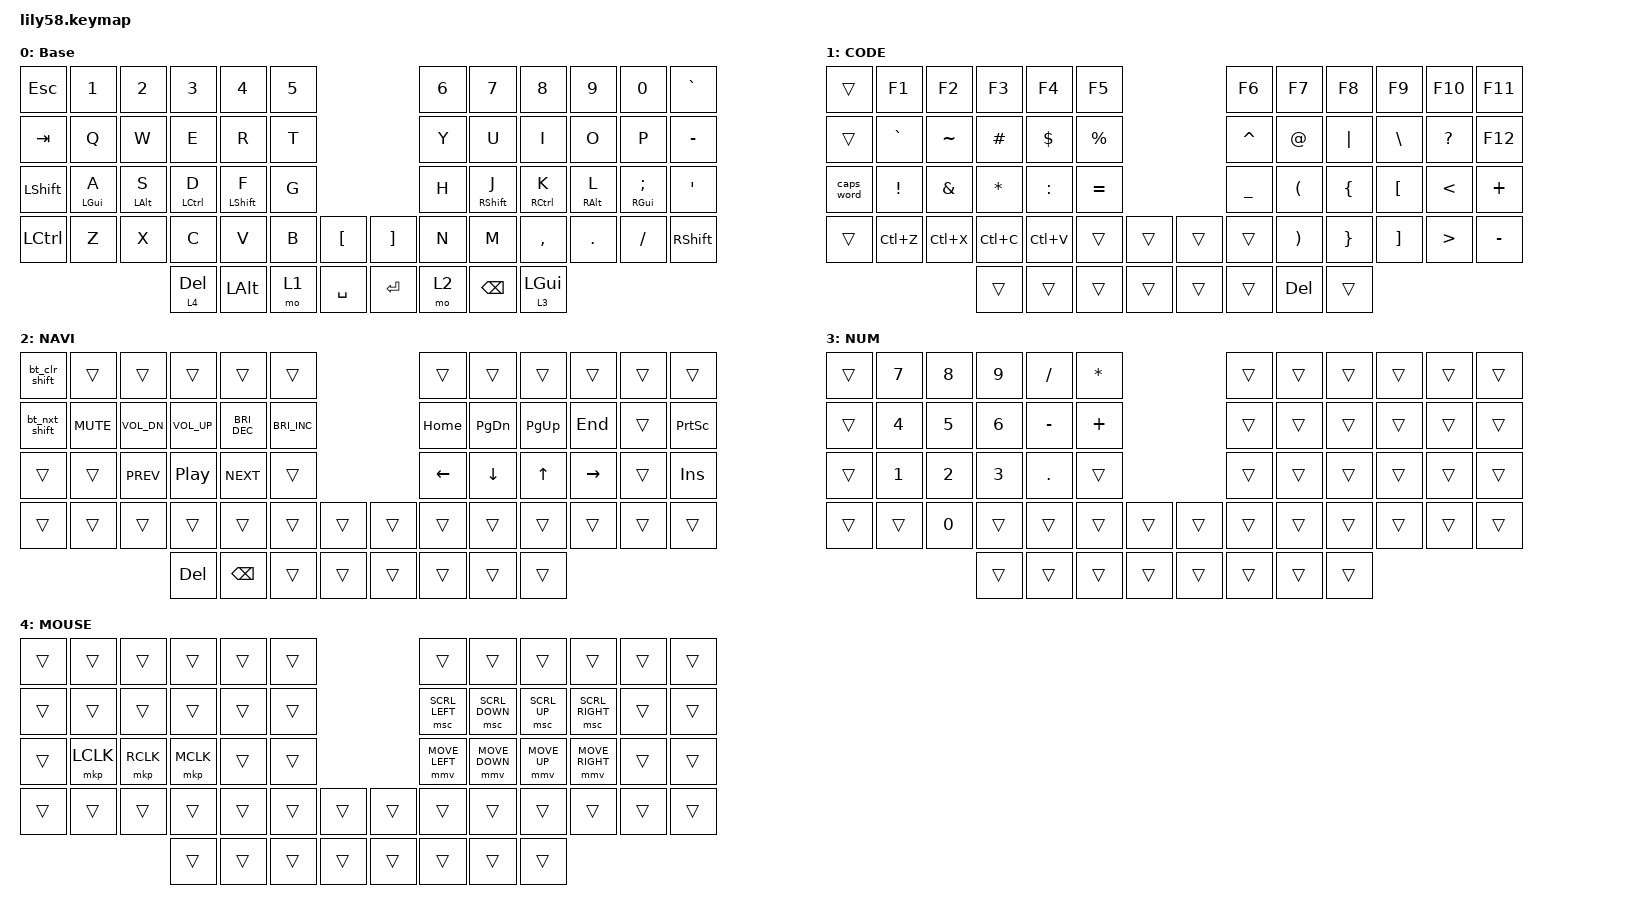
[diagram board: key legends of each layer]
/*
 * Copyright (c) 2020 The ZMK Contributors
 *
 * SPDX-License-Identifier: MIT
 */

#include <behaviors.dtsi>
#include <dt-bindings/zmk/bt.h>
#include <dt-bindings/zmk/keys.h>
#include <dt-bindings/zmk/pointing.h>

/ {
    behaviors {
        hml: home_row_mod_left {
            compatible = "zmk,behavior-hold-tap";
            #binding-cells = <2>;
            flavor = "balanced";
            tapping-term-ms = <280>;
            quick-tap-ms = <175>;
            require-prior-idle-ms = <150>;
            hold-trigger-key-positions = <6 7 8 9 10 11 18 19 20 21 22 23 30 31 32 33 34 35 43 44 45 46 47 48 49 54 55 56 57>;
            hold-trigger-on-release;
            bindings = <&kp>, <&kp>;
        };

        hmr: home_row_mod_right {
            compatible = "zmk,behavior-hold-tap";
            #binding-cells = <2>;
            flavor = "balanced";
            tapping-term-ms = <280>;
            quick-tap-ms = <175>;
            require-prior-idle-ms = <150>;
            hold-trigger-key-positions = <0 1 2 3 4 5 12 13 14 15 16 17 24 25 26 27 28 29 36 37 38 39 40 41 42 50 51 52 53>;
            hold-trigger-on-release;
            bindings = <&kp>, <&kp>;
        };

        mtk: mo_tap_kp_mod {
            compatible = "zmk,behavior-hold-tap";
            #binding-cells = <2>;
            flavor = "hold-preferred";
            tapping-term-ms = <200>;
            quick-tap-ms = <150>;
            bindings = <&mo>, <&kp>;
        };

        bt_clr_shift: bt_clr_shift {
            compatible = "zmk,behavior-mod-morph";
            #binding-cells = <0>;
            bindings = <&kp ESC>, <&bt BT_CLR>;

            mods = <(MOD_LSFT|MOD_RSFT)>;
        };

        bt_nxt_shift: bt_nxt_shift {
            compatible = "zmk,behavior-mod-morph";
            #binding-cells = <0>;
            bindings = <&kp TAB>, <&bt BT_NXT>;

            mods = <(MOD_LSFT|MOD_RSFT)>;
        };
    };

    keymap {
        compatible = "zmk,keymap";

        default_layer {
            display-name = "Base";
            bindings = <
&kp ESC           &kp N1       &kp N2       &kp N3        &kp N4        &kp N5                         &kp N6  &kp N7        &kp N8        &kp N9       &kp N0          &kp GRAVE
&kp TAB           &kp Q        &kp W        &kp E         &kp R         &kp T                          &kp Y   &kp U         &kp I         &kp O        &kp P           &kp MINUS
&kp LEFT_SHIFT    &hml LGUI A  &hml LALT S  &hml LCTRL D  &hml LSHFT F  &kp G                          &kp H   &hmr RSHFT J  &hmr RCTRL K  &hmr RALT L  &hmr RGUI SEMI  &kp SQT
&kp LEFT_CONTROL  &kp Z        &kp X        &kp C         &kp V         &kp B   &kp LBKT     &kp RBKT  &kp N   &kp M         &kp COMMA     &kp DOT      &kp FSLH        &kp RSHFT
                                            &mtk 4 DEL    &kp LALT      &mo 1   &kp SPACE    &kp RET   &mo 2   &kp BSPC      &mtk 3 LGUI
            >;
        };

        code_layer {
            display-name = "CODE";
            bindings = <
&trans      &kp F1     &kp F2     &kp F3     &kp F4      &kp F5                       &kp F6     &kp F7    &kp F8    &kp F9    &kp F10    &kp F11
&trans      &kp GRAVE  &kp TILDE  &kp HASH   &kp DOLLAR  &kp PRCNT                    &kp CARET  &kp AT    &kp PIPE  &kp BSLH  &kp QMARK  &kp F12
&caps_word  &kp EXCL   &kp AMPS   &kp STAR   &kp COLON   &kp EQUAL                    &kp UNDER  &kp LPAR  &kp LBRC  &kp LBKT  &kp LT     &kp PLUS
&trans      &kp LC(Z)  &kp LC(X)  &kp LC(C)  &kp LC(V)   &trans     &trans    &trans  &trans     &kp RPAR  &kp RBRC  &kp RBKT  &kp GT     &kp MINUS
                                  &trans     &trans      &trans     &trans    &trans  &trans     &kp DEL   &trans
            >;
        };

        navi_layer {
            display-name = "NAVI";
            bindings = <
&bt_clr_shift  &trans      &trans        &trans        &trans         &trans                           &trans          &trans          &trans        &trans           &trans  &trans
&bt_nxt_shift  &kp C_MUTE  &kp C_VOL_DN  &kp C_VOL_UP  &kp C_BRI_DEC  &kp C_BRI_INC                    &kp HOME        &kp PAGE_DOWN   &kp PAGE_UP   &kp END          &trans  &kp PSCRN
&trans         &trans      &kp C_PREV    &kp C_PP      &kp C_NEXT     &trans                           &kp LEFT_ARROW  &kp DOWN_ARROW  &kp UP_ARROW  &kp RIGHT_ARROW  &trans  &kp INS
&trans         &trans      &trans        &trans        &trans         &trans         &trans    &trans  &trans          &trans          &trans        &trans           &trans  &trans
                                         &kp DEL       &kp BACKSPACE  &trans         &trans    &trans  &trans          &trans          &trans
            >;
        };

        num_layer {
            display-name = "NUM";
            bindings = <
&trans  &kp N7  &kp N8  &kp N9  &kp FSLH   &kp STAR                    &trans  &trans  &trans  &trans  &trans  &trans
&trans  &kp N4  &kp N5  &kp N6  &kp MINUS  &kp PLUS                    &trans  &trans  &trans  &trans  &trans  &trans
&trans  &kp N1  &kp N2  &kp N3  &kp DOT    &trans                      &trans  &trans  &trans  &trans  &trans  &trans
&trans  &trans  &kp N0  &trans  &trans     &trans    &trans    &trans  &trans  &trans  &trans  &trans  &trans  &trans
                        &trans  &trans     &trans    &trans    &trans  &trans  &trans  &trans
            >;
        };

        mouse_layer {
            display-name = "MOUSE";
            bindings = <
&trans  &trans     &trans     &trans     &trans  &trans                    &trans          &trans          &trans        &trans           &trans  &trans
&trans  &trans     &trans     &trans     &trans  &trans                    &msc SCRL_LEFT  &msc SCRL_DOWN  &msc SCRL_UP  &msc SCRL_RIGHT  &trans  &trans
&trans  &mkp LCLK  &mkp RCLK  &mkp MCLK  &trans  &trans                    &mmv MOVE_LEFT  &mmv MOVE_DOWN  &mmv MOVE_UP  &mmv MOVE_RIGHT  &trans  &trans
&trans  &trans     &trans     &trans     &trans  &trans  &trans    &trans  &trans          &trans          &trans        &trans           &trans  &trans
                              &trans     &trans  &trans  &trans    &trans  &trans          &trans          &trans
            >;
        };

        extra_1 { status = "reserved"; };
    };
};
